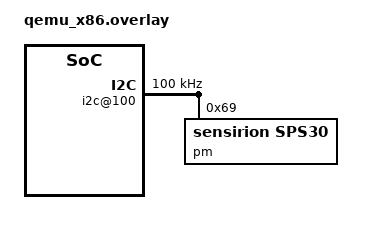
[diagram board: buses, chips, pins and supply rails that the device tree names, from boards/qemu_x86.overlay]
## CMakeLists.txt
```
# SPDX-License-Identifier: Apache-2.0
cmake_minimum_required(VERSION 3.20.0)
find_package(Zephyr REQUIRED HINTS $ENV{ZEPHYR_BASE})
project(sps30_test)
target_sources(app PRIVATE src/main.c)
```

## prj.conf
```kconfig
CONFIG_ZTEST=y
CONFIG_EMUL=y
CONFIG_I2C=y
CONFIG_I2C_EMUL=y
CONFIG_SENSOR=y
```

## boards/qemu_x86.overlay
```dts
/* SPDX-License-Identifier: Apache-2.0 */
/ {
	i2c@100 {
		compatible = "zephyr,i2c-emul-controller";
		clock-frequency = <100000>;
		#address-cells = <1>;
		#size-cells = <0>;
		reg = <0x100 4>;
		status = "okay";
		pm: sps30@69 {
			compatible = "sensirion,sps30";
			reg = <0x69>;
		};
	};
};
```

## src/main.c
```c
/* SPDX-License-Identifier: Apache-2.0 */
#include <string.h>
#include <zephyr/drivers/sensor.h>
#include <zephyr/drivers/emul.h>
#include <zephyr/drivers/i2c_emul.h>
#include <zephyr/ztest.h>

static const uint8_t frame[] = {0x3f, 0xa0, 0x56, 0x0, 0x0, 0x81, 0x40, 0x20, 0x8e, 0x0, 0x0, 0x81,
				0x40, 0x98, 0x88, 0x0, 0x0, 0x81, 0x41, 0x22, 0x18, 0x0, 0x0, 0x81,
				0x40, 0xa0, 0xf4, 0x0, 0x0, 0x81, 0x40, 0xc0, 0x4f, 0x0, 0x0, 0x81,
				0x40, 0xe0, 0xc9, 0x0, 0x0, 0x81, 0x41, 0x0,  0xfc, 0x0, 0x0, 0x81,
				0x41, 0x10, 0xbf, 0x0, 0x0, 0x81, 0x3f, 0x0,  0xaa, 0x0, 0x0, 0x81};
static const struct device *const sensor = DEVICE_DT_GET(DT_NODELABEL(pm));
static uint16_t selected;
static bool ready = true;
static bool corrupt;
static bool fail;
static bool bad_ready;
static bool invalid_float;
static unsigned int reads;

static int transfer(const struct emul *target, struct i2c_msg *msgs, int count, int addr)
{
	ARG_UNUSED(target);
	zassert_equal(count, 1);
	zassert_equal(addr, 0x69);
	zassert_true(msgs[0].flags & I2C_MSG_STOP);
	if (fail) {
		return -EIO;
	}
	struct i2c_msg *m = &msgs[0];
	if (!(m->flags & I2C_MSG_READ)) {
		zassert_true(m->len == 2 || m->len == 5);
		selected = (m->buf[0] << 8) | m->buf[1];
		if (selected == 0x0010) {
			const uint8_t start[] = {0, 0x10, 3, 0, 0xac};
			zassert_equal(m->len, sizeof(start));
			zassert_mem_equal(m->buf, start, sizeof(start));
		}
		return 0;
	}
	reads++;
	if (selected == 0xd100 || selected == 0x0202) {
		zassert_equal(m->len, 3);
		/* CRC fixtures: 00 00 -> 81; 00 01 -> b0; 01 00 -> 75. */
		const uint8_t yes[] = {0, 1, 0xb0};
		const uint8_t no[] = {0, 0, 0x81};
		const uint8_t version[] = {1, 0, 0x75};
		memcpy(m->buf, selected == 0xd100 ? version : ready ? yes : no, 3);
		if (bad_ready) {
			m->buf[2] ^= 1;
		}
	} else {
		zassert_equal(selected, 0x0300);
		zassert_equal(m->len, sizeof(frame));
		memcpy(m->buf, frame, sizeof(frame));
		if (corrupt) {
			m->buf[59] ^= 1;
		}
		if (invalid_float) {
			/* +Inf (7f80 0000), including valid independent CRC bytes. */
			m->buf[0] = 0x7f;
			m->buf[1] = 0x80;
			m->buf[2] = 0x59;
			m->buf[3] = 0;
			m->buf[4] = 0;
			m->buf[5] = 0x81;
		}
	}
	return 0;
}
static int init(const struct emul *e, const struct device *parent)
{
	ARG_UNUSED(e);
	ARG_UNUSED(parent);
	return 0;
}
static const struct i2c_emul_api api = {.transfer = transfer};
EMUL_DT_DEFINE(DT_NODELABEL(pm), init, NULL, NULL, &api, NULL);

static void before(void *fixture)
{
	ARG_UNUSED(fixture);
	ready = true;
	corrupt = false;
	fail = false;
	bad_ready = false;
	invalid_float = false;
	reads = 0;
	zassert_true(device_is_ready(sensor));
}
ZTEST(sps30, test_mass_mapping)
{
	struct sensor_value v;
	zassert_ok(sensor_sample_fetch(sensor));
	zassert_ok(sensor_channel_get(sensor, SENSOR_CHAN_PM_1_0, &v));
	zassert_equal(v.val1, 1);
	zassert_equal(v.val2, 250000);
	zassert_ok(sensor_channel_get(sensor, SENSOR_CHAN_PM_2_5, &v));
	zassert_equal(v.val1, 2);
	zassert_equal(v.val2, 500000);
	zassert_ok(sensor_channel_get(sensor, SENSOR_CHAN_PM_10, &v));
	zassert_equal(v.val1, 10);
	zassert_equal(v.val2, 125000);
}
ZTEST(sps30, test_not_ready)
{
	ready = false;
	zassert_equal(sensor_sample_fetch(sensor), -EAGAIN);
	zassert_equal(reads, 1);
}
ZTEST(sps30, test_crc_and_rollback)
{
	struct sensor_value v;
	zassert_ok(sensor_sample_fetch(sensor));
	corrupt = true;
	zassert_equal(sensor_sample_fetch(sensor), -EBADMSG);
	zassert_ok(sensor_channel_get(sensor, SENSOR_CHAN_PM_10, &v));
	zassert_equal(v.val1, 10);
	zassert_equal(v.val2, 125000);
	corrupt = false;
	bad_ready = true;
	zassert_equal(sensor_sample_fetch(sensor), -EBADMSG);
}
ZTEST(sps30, test_nonfinite)
{
	invalid_float = true;
	zassert_equal(sensor_sample_fetch(sensor), -EBADMSG);
}
ZTEST(sps30, test_bus_error_and_unsupported)
{
	struct sensor_value v;
	fail = true;
	zassert_equal(sensor_sample_fetch(sensor), -EIO);
	zassert_equal(sensor_sample_fetch_chan(sensor, SENSOR_CHAN_HUMIDITY), -ENOTSUP);
	zassert_equal(sensor_channel_get(sensor, SENSOR_CHAN_HUMIDITY, &v), -ENOTSUP);
}
ZTEST_SUITE(sps30, NULL, NULL, before, NULL, NULL);
```
